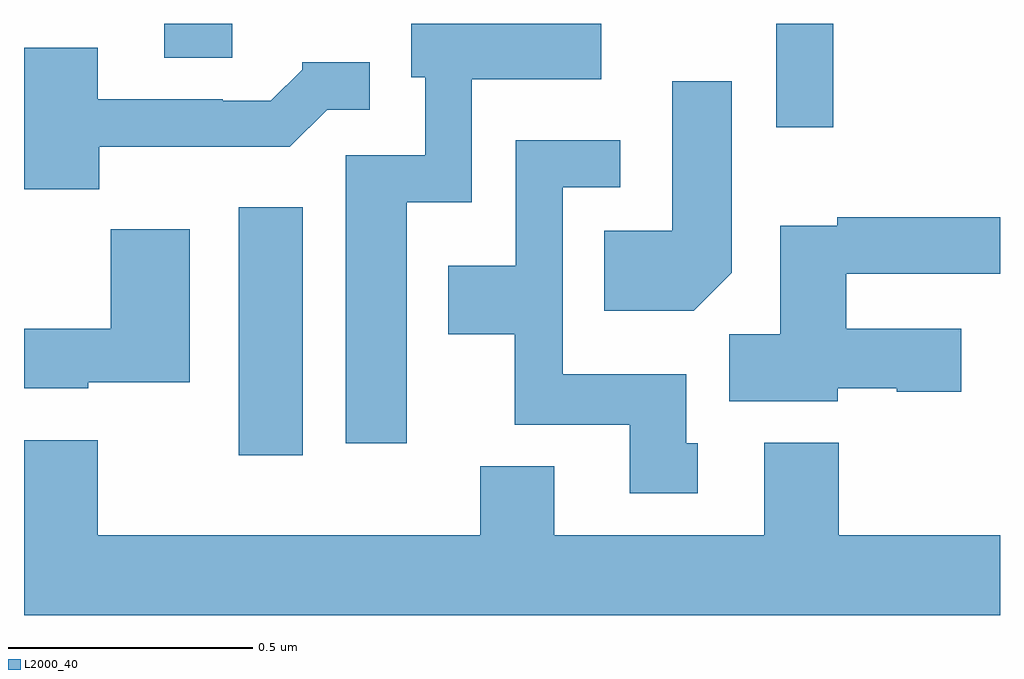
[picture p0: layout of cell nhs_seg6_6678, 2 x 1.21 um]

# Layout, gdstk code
import gdstk
lib = gdstk.Library(unit=1e-6, precision=1e-09)
def R(c, l, rs):  # rectangles x0, y0, x1, y1
    for r in rs: c.add(gdstk.rectangle(r[:2], r[2:], *l))
def P(c, l, *ps):  # polygons
    for p in ps: c.add(gdstk.Polygon(p, *l))
L2000_40 = (2000, 40)

nhs_seg6_6678 = lib.new_cell('nhs_seg6_6678')
R(nhs_seg6_6678, L2000_40, [(198.44,995.616,198.571,996.124), (199.542,996.288,199.658,996.5), (198.287,996.43,198.427,996.5)])
P(nhs_seg6_6678, L2000_40, [(198.784,996.134),(198.918,996.134),(198.918,996.386),(199.183,996.386),(199.183,996.5),(198.794,996.5),(198.794,996.39),(198.822,996.39),(198.822,996.231),(198.659,996.231),(198.659,995.64),(198.784,995.64)],
  [(198.154,996.248),(198.545,996.248),(198.621,996.324),(198.709,996.324),(198.709,996.421),(198.57,996.421),(198.57,996.406),(198.506,996.342),(198.407,996.342),(198.407,996.345),(198.151,996.345),(198.151,996.451),(198,996.451),(198,996.161),(198.154,996.161)],
  [(199.45,995.99),(199.45,996.382),(199.328,996.382),(199.328,996.076),(199.189,996.076),(199.189,995.912),(199.372,995.912)],
  [(199.381,995.64),(199.357,995.64),(199.357,995.782),(199.104,995.782),(199.104,996.165),(199.222,996.165),(199.222,996.261),(199.008,996.261),(199.008,996.004),(198.869,996.004),(198.869,995.864),(199.006,995.864),(199.006,995.678),(199.241,995.678),(199.241,995.538),(199.381,995.538)],
  [(199.668,995.753),(199.788,995.753),(199.788,995.746),(199.921,995.746),(199.921,995.875),(199.685,995.875),(199.685,995.988),(200,995.988),(200,996.104),(199.666,996.104),(199.666,996.086),(199.55,996.086),(199.55,995.864),(199.445,995.864),(199.445,995.726),(199.668,995.726)],
  [(198.132,995.765),(198.34,995.765),(198.34,996.079),(198.178,996.079),(198.178,995.875),(198,995.875),(198,995.753),(198.132,995.753)],
  [(200,995.452),(199.67,995.452),(199.67,995.641),(199.517,995.641),(199.517,995.452),(199.087,995.452),(199.087,995.593),(198.935,995.593),(198.935,995.452),(198.151,995.452),(198.151,995.647),(198,995.647),(198,995.288),(200,995.288)])

lib.write_gds('nhs_seg6_6678.gds')
